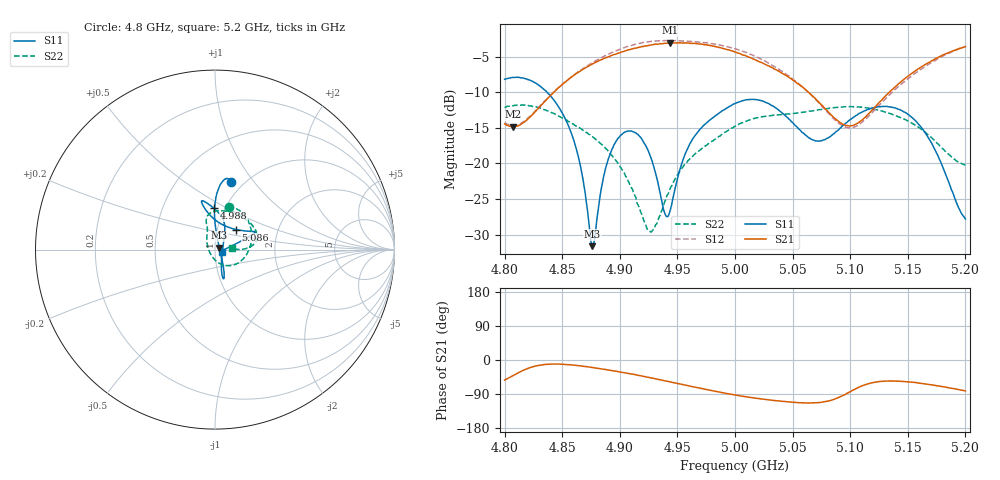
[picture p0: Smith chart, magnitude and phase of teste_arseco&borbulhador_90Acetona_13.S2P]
! Network Analyzer HP8722D
! Hewlett-Packard
! Data name: Linha & Wilkinson
! Saver's name: Rodrigo Anjos
! Comments: Teste da utilização de aquisição
! continua pelo VNA HP8722D
! Time and date: 17/4/2025 11:09
!  Frequency  S11  S21  S12  S22
# HZ  S  MA R 50
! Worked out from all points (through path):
!   401 points, 4.8 GHz to 5.2 GHz, reference 50 ohm
!   highest |S21| = -3.07 dB at 4.944 GHz (marker M1); lowest = -14.9 dB at 4.807 GHz (marker M2)
!   lowest |S11| = -31.6 dB at 4.876 GHz (marker M3), VSWR 1.05, Z = 52.5 + j1.05 ohm
!   |S11| at or under -10 dB: 4.837 GHz to end of sweep
!   |S22| runs from -29.6 to -11.8 dB; largest |S21 - S12| = 1.4
!   S11 on the Smith chart (normalised r, x): 4.8 GHz: 0.87, +0.78; 4.988 GHz: 0.89, +0.43; 5.086 GHz: 1.23, +0.28; 5.2 GHz: 1.08, -0.03
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4.8e9  0.3895 76.9  0.1896 -53.0  0.1932 82.0  0.2478 72.2
4.807e9  0.4014 79.0  0.1808 -41.8  0.1841 92.2  0.2538 66.2
4.844e9  0.2695 89.6  0.3231 -10.7  0.3231 122.7  0.2214 22.9
4.858e9  0.1622 90.2  0.4037 -12.9  0.4043 122.5  0.1918 1.8
4.867e9  0.0861 83.8  0.4524 -16.0  0.4553 121.2  0.1735 -12.0
4.876e9  0.0263 22.3  0.4979 -19.6  0.5085 119.0  0.1545 -26.5
4.888e9  0.09488 -62.5  0.5535 -25.3  0.5734 115.0  0.1267 -44.4
4.902e9  0.1605 -71.5  0.607 -32.6  0.6419 109.0  0.09058 -66.0
4.925e9  0.1211 -72.7  0.673 -45.7  0.714 96.2  0.03404 -142.7
4.934e9  0.06769 -57.6  0.6887 -51.6  0.726 90.5  0.04187 161.8
4.94e9  0.04286 -17.0  0.6959 -55.6  0.7265 86.5  0.05624 140.3
4.944e9  0.04768 21.3  0.7019 -58.0  0.7281 84.1  0.06759 132.3
4.961e9  0.1382 66.7  0.6951 -69.0  0.7192 73.4  0.1077 113.5
4.988e9  0.2313 91.5  0.6452 -85.7  0.675 55.9  0.1589 108.0
5e9  0.2636 99.9  0.6055 -92.4  0.6383 48.4  0.1824 104.9
5.028e9  0.2651 105.7  0.4871 -104.6  0.5106 34.1  0.216 88.9
5.067e9  0.1469 76.5  0.2996 -113.4  0.2968 27.6  0.2335 54.5
5.086e9  0.162 43.7  0.2092 -103.7  0.2046 39.2  0.2463 36.6
5.105e9  0.2169 28.1  0.1888 -75.6  0.182 69.2  0.2494 22.2
5.134e9  0.2495 23.2  0.3159 -55.5  0.3021 91.0  0.2248 8.9
5.165e9  0.1642 18.9  0.4931 -63.0  0.4779 85.1  0.1658 1.3
5.2e9  0.04083 -17.0  0.6596 -81.7  0.6601 67.6  0.09711 5.5
